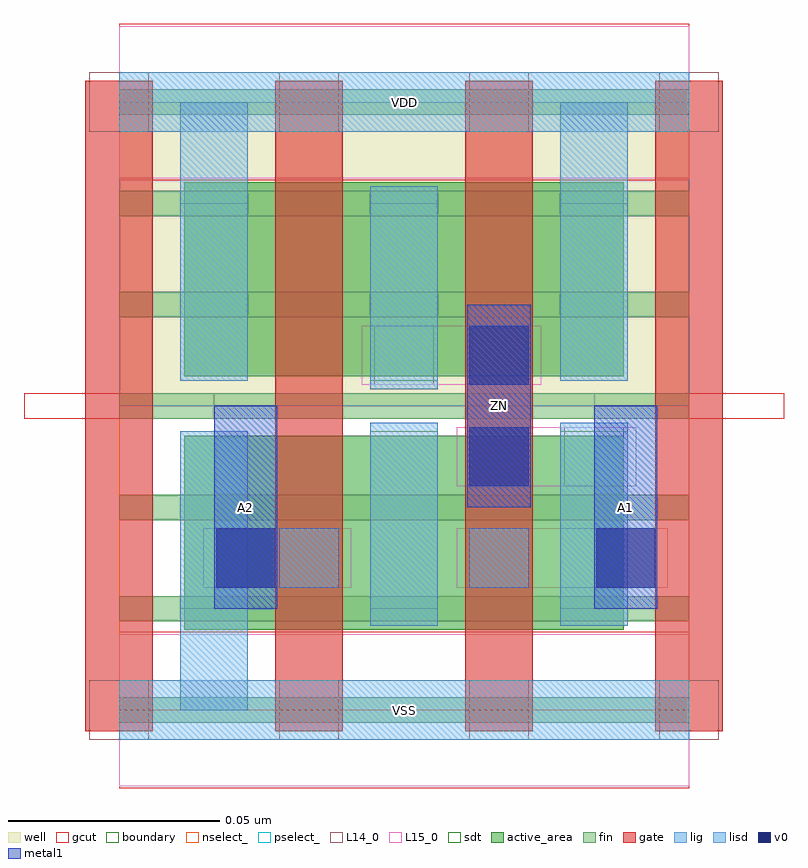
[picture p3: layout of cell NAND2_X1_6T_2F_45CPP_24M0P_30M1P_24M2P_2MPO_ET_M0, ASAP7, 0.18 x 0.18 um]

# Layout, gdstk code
import gdstk
lib = gdstk.Library(unit=1e-6, precision=2.5e-10)
def R(c, l, rs):  # rectangles x0, y0, x1, y1
    for r in rs: c.add(gdstk.rectangle(r[:2], r[2:], *l))
def A(c, l, x, y, w, h, nx, ny, dx, dy):  # array of equal rectangles
    R(c, l, [(x+i*dx, y+j*dy, x+i*dx+w, y+j*dy+h) for i in range(nx) for j in range(ny)])
well = (1, 0)
fin = (2, 0)
gate = (7, 0)
gcut = (10, 0)
active_area = (11, 0)
nselect_ = (12, 0)
pselect_ = (13, 0)
L14_0 = (14, 0)
L15_0 = (15, 0)
lig = (16, 0)
lisd = (17, 0)
v0 = (18, 0)
metal1 = (19, 0)
sdt = (88, 0)
boundary = (100, 0)

nand2_x1_6t_2f_45cpp_24m = lib.new_cell('NAND2_X1_6T_2F_45CPP_24M0P_30M1P_24M2P_2MPO_ET_M0')
R(nand2_x1_6t_2f_45cpp_24m, well, [(0,0.072,0.135,0.144)])
A(nand2_x1_6t_2f_45cpp_24m, fin, 0, -0.003, 0.135, 0.006, 1, 7, 0, 0.024)
A(nand2_x1_6t_2f_45cpp_24m, gate, -0.008, -0.005, 0.016, 0.154, 4, 1, 0.045, 0)
R(nand2_x1_6t_2f_45cpp_24m, gcut, [(0,-0.0185,0.135,0.0185), (-0.0225,0.069,0.0225,0.075), (0.1125,0.069,0.1575,0.075), (0,0.1255,0.135,0.1625)])
R(nand2_x1_6t_2f_45cpp_24m, active_area, [(0.0155,0.019,0.0745,0.065), (0.0605,0.019,0.1195,0.065), (0.0155,0.079,0.0745,0.125), (0.0605,0.079,0.1195,0.125)])
R(nand2_x1_6t_2f_45cpp_24m, nselect_, [(0,0,0.135,0.072)])
R(nand2_x1_6t_2f_45cpp_24m, pselect_, [(0,0.072,0.135,0.144)])
A(nand2_x1_6t_2f_45cpp_24m, L14_0, -0.007, -0.007, 0.014, 0.014, 4, 2, 0.045, 0.144)
R(nand2_x1_6t_2f_45cpp_24m, L14_0, [(0.038,0.029,0.052,0.043), (0.083,0.029,0.097,0.043), (0.1055,0.053,0.1195,0.067), (0.0605,0.077,0.0745,0.091)])
R(nand2_x1_6t_2f_45cpp_24m, L15_0, [(0,-0.018,0.135,0.018), (0.02,0.029,0.055,0.043), (0.08,0.029,0.13,0.043), (0.08,0.053,0.1225,0.067), (0.0575,0.077,0.1,0.091), (0,0.126,0.135,0.162)])
R(nand2_x1_6t_2f_45cpp_24m, lig, [(0,-0.007,0.135,0.007), (0.038,0.029,0.052,0.043), (0.083,0.029,0.097,0.043), (0,0.137,0.135,0.151)])
R(nand2_x1_6t_2f_45cpp_24m, lisd, [(0.0145,0,0.0305,0.066), (0.0595,0.02,0.0755,0.068), (0.1045,0.02,0.1205,0.068), (0.0595,0.076,0.0755,0.124), (0.0145,0.078,0.0305,0.144), (0.1045,0.078,0.1205,0.144)])
R(nand2_x1_6t_2f_45cpp_24m, v0, [(0.023,0.029,0.037,0.043), (0.113,0.029,0.127,0.043), (0.083,0.053,0.097,0.067), (0.083,0.077,0.097,0.091)])
R(nand2_x1_6t_2f_45cpp_24m, metal1, [(0.0225,0.024,0.0375,0.072), (0.1125,0.024,0.1275,0.072), (0.0825,0.048,0.0975,0.096)])
A(nand2_x1_6t_2f_45cpp_24m, sdt, 0.0145, 0.024, 0.016, 0.042, 3, 2, 0.045, 0.054)
R(nand2_x1_6t_2f_45cpp_24m, boundary, [(0,0,0.135,0.144)])
nand2_x1_6t_2f_45cpp_24m.add(gdstk.Label('ZN', (0.09,0.072), layer=19, texttype=251))
nand2_x1_6t_2f_45cpp_24m.add(gdstk.Label('A1', (0.12,0.048), layer=19, texttype=251))
nand2_x1_6t_2f_45cpp_24m.add(gdstk.Label('A2', (0.03,0.048), layer=19, texttype=251))
nand2_x1_6t_2f_45cpp_24m.add(gdstk.Label('VDD', (0.0675,0.144), layer=15, texttype=251))
nand2_x1_6t_2f_45cpp_24m.add(gdstk.Label('VSS', (0.0675,0), layer=15, texttype=251))
nand2_x1_6t_2f_45cpp_24m.add(gdstk.Label('VDD', (0.0675,0.144), layer=1, texttype=251))
nand2_x1_6t_2f_45cpp_24m.add(gdstk.Label('VSS', (0.0675,0), layer=3, texttype=251))

lib.write_gds('NAND2_X1_6T_2F_45CPP_24M0P_30M1P_24M2P_2MPO_ET_M0.gds')
